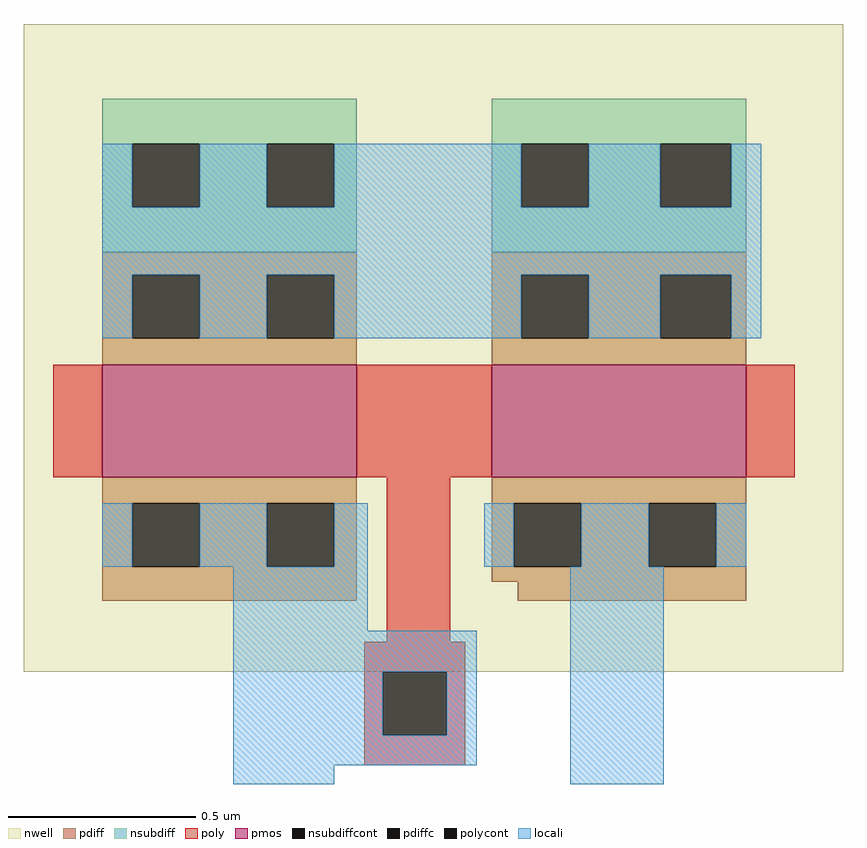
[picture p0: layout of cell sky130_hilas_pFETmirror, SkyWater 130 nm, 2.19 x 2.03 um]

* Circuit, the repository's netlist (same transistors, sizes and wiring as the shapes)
* Copyright 2020 The Hilas PDK Authors
* 
* This file is part of HILAS.
* 
* HILAS is free software: you can redistribute it and/or modify
* it under the terms of the GNU Lesser General Public License as published by
* the Free Software Foundation, version 3 of the License.
* 
* HILAS is distributed in the hope that it will be useful,
* but WITHOUT ANY WARRANTY; without even the implied warranty of
* MERCHANTABILITY or FITNESS FOR A PARTICULAR PURPOSE.  See the
* GNU Lesser General Public License for more details.
* 
* You should have received a copy of the GNU Lesser General Public License
* along with HILAS.  If not, see <https://www.gnu.org/licenses/>.
* 
* Licensed under the Lesser General Public License, Version 3.0 (the "License");
* you may not use this file except in compliance with the License.
* You may obtain a copy of the License at
* 
* https://www.gnu.org/licenses/lgpl-3.0.en.html
* 
* Unless required by applicable law or agreed to in writing, software
* distributed under the License is distributed on an "AS IS" BASIS,
* WITHOUT WARRANTIES OR CONDITIONS OF ANY KIND, either express or implied.
* See the License for the specific language governing permissions and
* limitations under the License.
* 
* SPDX-License-Identifier: LGPL-3.0
* 
* 

* NGSPICE file created from sky130_hilas_pFETmirror.ext - technology: sky130A


* Top level circuit sky130_hilas_pFETmirror

X0 w_n122_224# a_n106_328# a_n106_328# w_n122_224# sky130_fd_pr__pfet_01v8 w=680000u l=300000u
X1 w_n122_224# a_n106_328# a_128_272# w_n122_224# sky130_fd_pr__pfet_01v8 w=680000u l=300000u
.end

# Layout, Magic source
magic
tech sky130A
<< nwell >>
rect 0 30 219 203
<< pmos >>
rect 21 82 89 112
rect 125 82 193 112
<< pdiff >>
rect 21 136 89 142
rect 21 119 29 136
rect 47 119 65 136
rect 83 119 89 136
rect 21 112 89 119
rect 125 136 193 142
rect 125 119 133 136
rect 151 119 170 136
rect 189 119 193 136
rect 125 112 193 119
rect 21 75 89 82
rect 21 58 29 75
rect 47 58 65 75
rect 83 58 89 75
rect 21 49 89 58
rect 125 75 193 82
rect 125 58 131 75
rect 149 58 167 75
rect 185 58 193 75
rect 125 54 193 58
rect 132 49 193 54
<< pdiffc >>
rect 29 119 47 136
rect 65 119 83 136
rect 133 119 151 136
rect 170 119 189 136
rect 29 58 47 75
rect 65 58 83 75
rect 131 58 149 75
rect 167 58 185 75
<< nsubdiff >>
rect 21 171 89 183
rect 21 154 29 171
rect 47 154 65 171
rect 83 154 89 171
rect 21 142 89 154
rect 125 171 193 183
rect 125 154 133 171
rect 151 154 170 171
rect 189 154 193 171
rect 125 142 193 154
<< nsubdiffcont >>
rect 29 154 47 171
rect 65 154 83 171
rect 133 154 151 171
rect 170 154 189 171
<< poly >>
rect 8 82 21 112
rect 89 82 125 112
rect 193 82 206 112
rect 97 38 114 82
rect 91 30 118 38
rect 91 13 96 30
rect 113 13 118 30
rect 91 5 118 13
<< polycont >>
rect 96 13 113 30
<< locali >>
rect 21 154 29 171
rect 47 154 65 171
rect 83 154 133 171
rect 151 154 170 171
rect 189 154 197 171
rect 21 136 197 154
rect 21 119 29 136
rect 47 119 65 136
rect 83 119 133 136
rect 151 119 170 136
rect 189 119 197 136
rect 21 58 29 75
rect 47 58 65 75
rect 83 58 92 75
rect 123 58 131 75
rect 149 58 167 75
rect 185 58 193 75
rect 56 41 92 58
rect 56 30 121 41
rect 56 13 96 30
rect 113 13 121 30
rect 56 5 121 13
rect 56 0 83 5
rect 146 0 171 58
<< properties >>
string LEFsite unithd
string LEFclass CORE
string LEFsymmetry X Y R90
<< end >>
